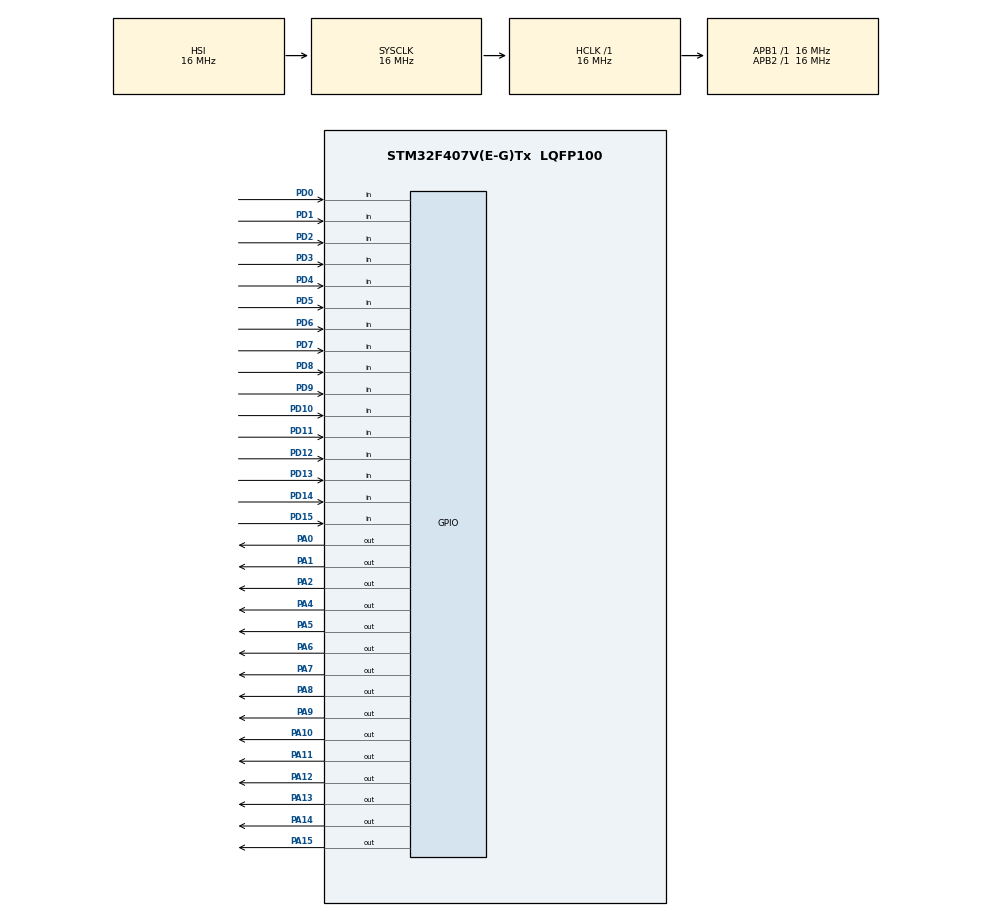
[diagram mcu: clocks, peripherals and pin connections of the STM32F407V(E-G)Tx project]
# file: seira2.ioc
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Mcu.Family=STM32F4
Mcu.Name=STM32F407V(E-G)Tx
Mcu.Package=LQFP100
NVIC.PriorityGroup=NVIC_PRIORITYGROUP_4
PA0-WKUP.Signal=GPIO_Output
PA1.Signal=GPIO_Output
PA10.Signal=GPIO_Output
PA11.Signal=GPIO_Output
PA12.Signal=GPIO_Output
PA13.Signal=GPIO_Output
PA14.Signal=GPIO_Output
PA15.Signal=GPIO_Output
PA2.Signal=GPIO_Output
PA4.Signal=GPIO_Output
PA5.Signal=GPIO_Output
PA6.Signal=GPIO_Output
PA7.Signal=GPIO_Output
PA8.Signal=GPIO_Output
PA9.Signal=GPIO_Output
PD0.Signal=GPIO_Input
PD1.Signal=GPIO_Input
PD10.Signal=GPIO_Input
PD11.Signal=GPIO_Input
PD12.Signal=GPIO_Input
PD13.Signal=GPIO_Input
PD14.Signal=GPIO_Input
PD15.Signal=GPIO_Input
PD2.Signal=GPIO_Input
PD3.Signal=GPIO_Input
PD4.Signal=GPIO_Input
PD5.Signal=GPIO_Input
PD6.Signal=GPIO_Input
PD7.Signal=GPIO_Input
PD8.Signal=GPIO_Input
PD9.Signal=GPIO_Input
ProjectManager.HeapSize=0x200
ProjectManager.StackSize=0x400
ProjectManager.TargetToolchain=STM32CubeIDE
RCC.AHBFreq_Value=16000000
RCC.APB1Freq_Value=16000000
RCC.APB2Freq_Value=16000000
RCC.CortexFreq_Value=16000000
RCC.HSE_VALUE=25000000
RCC.HSI_VALUE=16000000
RCC.LSE_VALUE=32768
RCC.SYSCLKFreq_VALUE=16000000
RCC.VCOOutputFreq_Value=192000000
board=custom

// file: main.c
/* USER CODE BEGIN Header */
/**
  ******************************************************************************
  * @file           : main.c
  * @brief          : Main program body
  ******************************************************************************
  * @attention
  *
  * Copyright (c) 2026 STMicroelectronics.
  * All rights reserved.
  *
  * This software is licensed under terms that can be found in the LICENSE file
  * in the root directory of this software component.
  * If no LICENSE file comes with this software, it is provided AS-IS.
  *
  ******************************************************************************
  */
/* USER CODE END Header */
#include "main.h"

/* USER CODE BEGIN Includes */
#include <stdint.h>
/* USER CODE END Includes */

/* USER CODE BEGIN PV */
volatile uint32_t g_main_loops = 0;
/* GPIO input / EXTI */
volatile uint32_t g_pa0_level = 0;
volatile uint32_t g_exti_count = 0;
volatile uint32_t g_exti_last_pin = 0;
/* USART */
volatile uint32_t g_uart_messages = 0;
/* LED states */
volatile uint32_t g_led_exti = 0; /* PD12 */
/* USER CODE END PV */

void SystemClock_Config(void);
static void MX_GPIO_Init(void);
/* USER CODE BEGIN PFP */
static void app_write_leds(void);
static void app_uart_write(const char *s);
/* USER CODE END PFP */

/* USER CODE BEGIN 0 */
static void app_write_leds(void)
{
	HAL_GPIO_WritePin(GPIOD, GPIO_PIN_12, g_led_exti ? GPIO_PIN_SET : GPIO_PIN_RESET);
}
static void app_uart_write(const char *s)
{
	const char *p = s;
	uint16_t len = 0;
	while (*p++)
	{
		len++;
	}
	HAL_UART_Transmit(&huart2, (uint8_t*)s, len, 1000);
	g_uart_messages++;
}
void HAL_GPIO_EXTI_Callback(uint16_t GPIO_Pin)
{
	if (GPIO_Pin == GPIO_PIN_0)
	{
		g_exti_count++;
		g_exti_last_pin = GPIO_Pin;
		g_led_exti ^= 1U;
		app_write_leds();
	}
}
/* USER CODE END 0 */

int main(void)
{

  /* MCU Configuration--------------------------------------------------------*/

  /* Reset of all peripherals, Initializes the Flash interface and the Systick. */
  HAL_Init();

  /* Configure the system clock */
  SystemClock_Config();

  /* Initialize all configured peripherals */
  MX_GPIO_Init();

  /* Infinite loop */
  while (1)
  {

  }
}

void SystemClock_Config(void)
{
  RCC_OscInitTypeDef RCC_OscInitStruct = {0};
  RCC_ClkInitTypeDef RCC_ClkInitStruct = {0};

  /** Configure the main internal regulator output voltage
  */
  __HAL_RCC_PWR_CLK_ENABLE();
  __HAL_PWR_VOLTAGESCALING_CONFIG(PWR_REGULATOR_VOLTAGE_SCALE1);

  /** Initializes the RCC Oscillators according to the specified parameters
  * in the RCC_OscInitTypeDef structure.
  */
  RCC_OscInitStruct.OscillatorType = RCC_OSCILLATORTYPE_HSI;
  RCC_OscInitStruct.HSIState = RCC_HSI_ON;
  RCC_OscInitStruct.HSICalibrationValue = RCC_HSICALIBRATION_DEFAULT;
  RCC_OscInitStruct.PLL.PLLState = RCC_PLL_NONE;
  if (HAL_RCC_OscConfig(&RCC_OscInitStruct) != HAL_OK)
  {
    Error_Handler();
  }

  /** Initializes the CPU, AHB and APB buses clocks
  */
  RCC_ClkInitStruct.ClockType = RCC_CLOCKTYPE_HCLK|RCC_CLOCKTYPE_SYSCLK
                              |RCC_CLOCKTYPE_PCLK1|RCC_CLOCKTYPE_PCLK2;
  RCC_ClkInitStruct.SYSCLKSource = RCC_SYSCLKSOURCE_HSI;
  RCC_ClkInitStruct.AHBCLKDivider = RCC_SYSCLK_DIV1;
  RCC_ClkInitStruct.APB1CLKDivider = RCC_HCLK_DIV1;
  RCC_ClkInitStruct.APB2CLKDivider = RCC_HCLK_DIV1;

  if (HAL_RCC_ClockConfig(&RCC_ClkInitStruct, FLASH_LATENCY_0) != HAL_OK)
  {
    Error_Handler();
  }
}

static void MX_GPIO_Init(void)
{
  GPIO_InitTypeDef GPIO_InitStruct = {0};

  /* GPIO Ports Clock Enable */
  __HAL_RCC_GPIOA_CLK_ENABLE();
  __HAL_RCC_GPIOD_CLK_ENABLE();

  /*Configure GPIO pin Output Level */
  HAL_GPIO_WritePin(GPIOA, GPIO_PIN_0|GPIO_PIN_1|GPIO_PIN_2|GPIO_PIN_4
                          |GPIO_PIN_5|GPIO_PIN_6|GPIO_PIN_7|GPIO_PIN_8
                          |GPIO_PIN_9|GPIO_PIN_10|GPIO_PIN_11|GPIO_PIN_12
                          |GPIO_PIN_13|GPIO_PIN_14|GPIO_PIN_15, GPIO_PIN_RESET);

  /*Configure GPIO pins : PA0 PA1 PA2 PA4
                           PA5 PA6 PA7 PA8
                           PA9 PA10 PA11 PA12
                           PA13 PA14 PA15 */
  GPIO_InitStruct.Pin = GPIO_PIN_0|GPIO_PIN_1|GPIO_PIN_2|GPIO_PIN_4
                          |GPIO_PIN_5|GPIO_PIN_6|GPIO_PIN_7|GPIO_PIN_8
                          |GPIO_PIN_9|GPIO_PIN_10|GPIO_PIN_11|GPIO_PIN_12
                          |GPIO_PIN_13|GPIO_PIN_14|GPIO_PIN_15;
  GPIO_InitStruct.Mode = GPIO_MODE_OUTPUT_PP;
  GPIO_InitStruct.Pull = GPIO_NOPULL;
  GPIO_InitStruct.Speed = GPIO_SPEED_FREQ_LOW;
  HAL_GPIO_Init(GPIOA, &GPIO_InitStruct);

  /*Configure GPIO pins : PD8 PD9 PD10 PD11
                           PD12 PD13 PD14 PD15
                           PD0 PD1 PD2 PD3
                           PD4 PD5 PD6 PD7 */
  GPIO_InitStruct.Pin = GPIO_PIN_8|GPIO_PIN_9|GPIO_PIN_10|GPIO_PIN_11
                          |GPIO_PIN_12|GPIO_PIN_13|GPIO_PIN_14|GPIO_PIN_15
                          |GPIO_PIN_0|GPIO_PIN_1|GPIO_PIN_2|GPIO_PIN_3
                          |GPIO_PIN_4|GPIO_PIN_5|GPIO_PIN_6|GPIO_PIN_7;
  GPIO_InitStruct.Mode = GPIO_MODE_INPUT;
  GPIO_InitStruct.Pull = GPIO_NOPULL;
  HAL_GPIO_Init(GPIOD, &GPIO_InitStruct);

}

void Error_Handler(void)
{
  __disable_irq();
  while (1)
  {
  }
}
